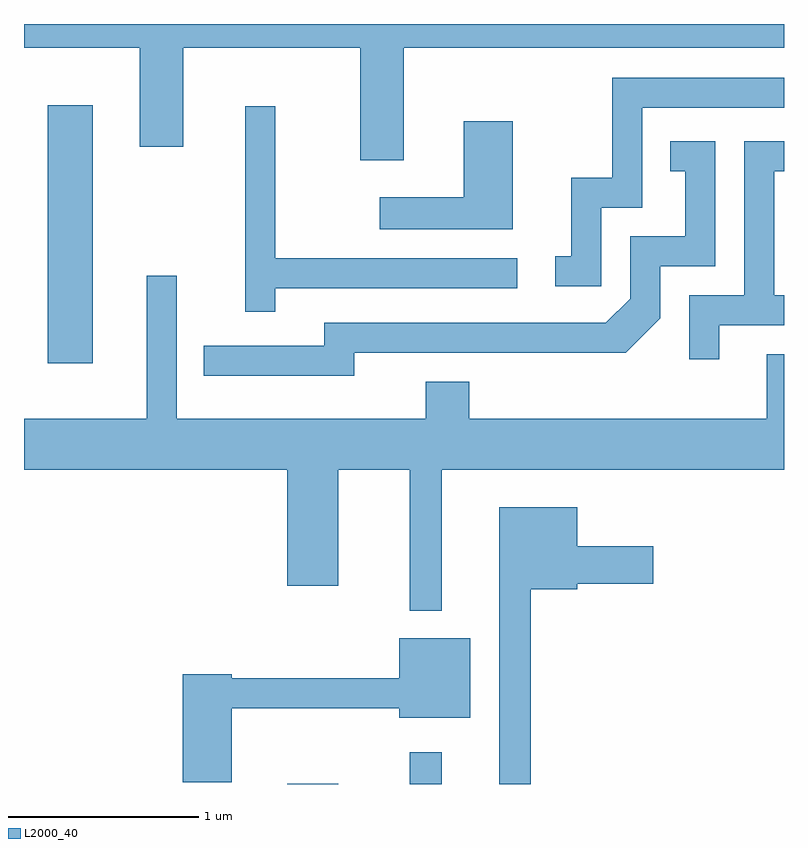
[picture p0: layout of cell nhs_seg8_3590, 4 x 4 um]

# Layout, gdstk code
import gdstk
lib = gdstk.Library(unit=1e-6, precision=1e-09)
def R(c, l, rs):  # rectangles x0, y0, x1, y1
    for r in rs: c.add(gdstk.rectangle(r[:2], r[2:], *l))
def P(c, l, *ps):  # polygons
    for p in ps: c.add(gdstk.Polygon(p, *l))
L2000_40 = (2000, 40)

nhs_seg8_3590 = lib.new_cell('nhs_seg8_3590')
R(nhs_seg8_3590, L2000_40, [(294.996,1810.342,295.264,1810.344), (295.641,1810.342,295.809,1810.508), (293.736,1812.556,293.974,1813.914)])
P(nhs_seg8_3590, L2000_40, [(295.609,1814.216),(297.611,1814.216),(297.611,1814.342),(293.611,1814.342),(293.611,1814.216),(294.221,1814.216),(294.221,1813.696),(294.449,1813.696),(294.449,1814.216),(295.381,1814.216),(295.381,1813.626),(295.609,1813.626)],
  [(296.649,1813.376),(296.864,1813.376),(296.864,1813.901),(297.611,1813.901),(297.611,1814.059),(296.706,1814.059),(296.706,1813.534),(296.491,1813.534),(296.491,1813.119),(296.408,1813.119),(296.408,1812.961),(296.649,1812.961)],
  [(294.934,1812.951),(296.208,1812.951),(296.208,1813.109),(294.934,1813.109),(294.934,1813.908),(294.776,1813.908),(294.776,1812.828),(294.934,1812.828)],
  [(296.184,1813.829),(295.926,1813.829),(295.926,1813.429),(295.483,1813.429),(295.483,1813.261),(296.184,1813.261)],
  [(297.269,1812.756),(297.611,1812.756),(297.611,1812.914),(297.559,1812.914),(297.559,1813.566),(297.611,1813.566),(297.611,1813.724),(297.401,1813.724),(297.401,1812.914),(297.111,1812.914),(297.111,1812.578),(297.269,1812.578)],
  [(295.349,1812.611),(296.777,1812.611),(296.959,1812.794),(296.959,1813.066),(297.249,1813.066),(297.249,1813.724),(297.013,1813.724),(297.013,1813.566),(297.091,1813.566),(297.091,1813.224),(296.801,1813.224),(296.801,1812.897),(296.674,1812.769),(295.191,1812.769),(295.191,1812.649),(294.558,1812.649),(294.558,1812.491),(295.349,1812.491)],
  [(295.809,1811.996),(297.611,1811.996),(297.611,1812.604),(297.521,1812.604),(297.521,1812.264),(295.954,1812.264),(295.954,1812.459),(295.726,1812.459),(295.726,1812.264),(294.414,1812.264),(294.414,1813.018),(294.256,1813.018),(294.256,1812.264),(293.611,1812.264),(293.611,1811.996),(294.996,1811.996),(294.996,1811.386),(295.264,1811.386),(295.264,1811.996),(295.641,1811.996),(295.641,1811.253),(295.809,1811.253)],
  [(296.279,1811.366),(296.524,1811.366),(296.524,1811.396),(296.924,1811.396),(296.924,1811.594),(296.524,1811.594),(296.524,1811.799),(296.111,1811.799),(296.111,1810.342),(296.279,1810.342)],
  [(294.704,1810.741),(295.586,1810.741),(295.586,1810.691),(295.959,1810.691),(295.959,1811.109),(295.586,1811.109),(295.586,1810.899),(294.704,1810.899),(294.704,1810.919),(294.446,1810.919),(294.446,1810.351),(294.704,1810.351)])

lib.write_gds('nhs_seg8_3590.gds')
